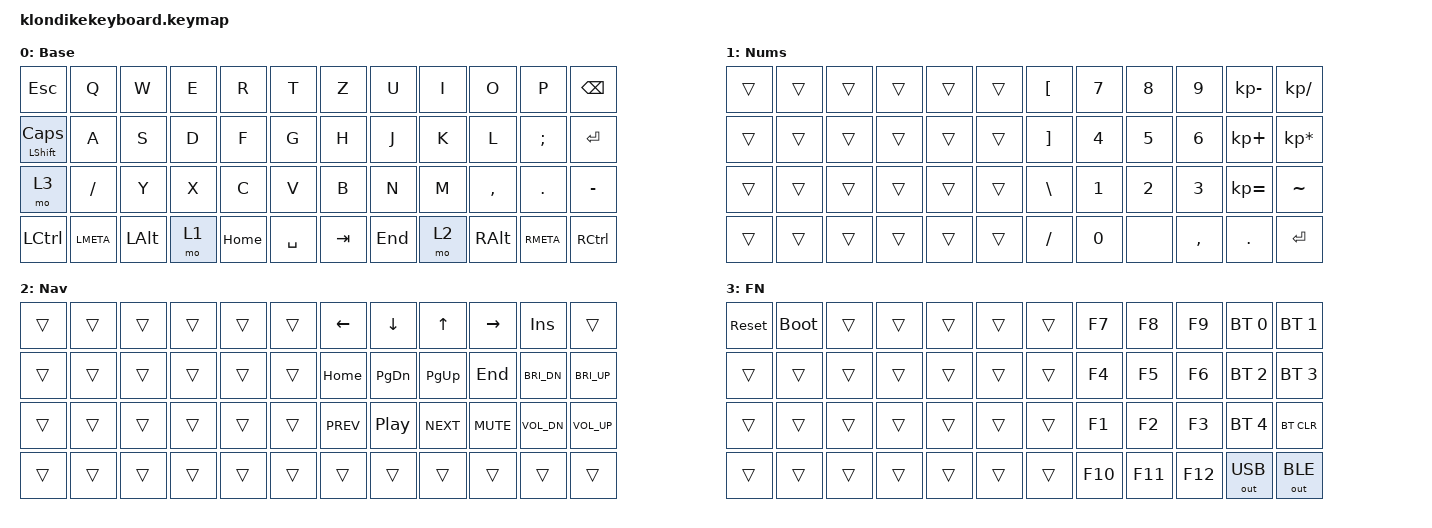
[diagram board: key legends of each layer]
#include <behaviors.dtsi>
#include <dt-bindings/zmk/keys.h>
#include <dt-bindings/zmk/bt.h>

/ {
    keymap {
        compatible = "zmk,keymap";
        default_layer {
            display-name = "Base";
            bindings = <
                        &kp ESC         &kp Q     &kp W     &kp E &kp R    &kp T     &kp Z   &kp U   &kp I &kp O     &kp P     &kp BSPC
                        &mt LSHIFT CAPS &kp A     &kp S     &kp D &kp F    &kp G     &kp H   &kp J   &kp K &kp L     &kp SEMI  &kp ENTER
                        &mo 3           &kp FSLH  &kp Y     &kp X &kp C    &kp V     &kp B   &kp N   &kp M &kp COMMA &kp DOT   &kp MINUS
                        &kp LCTRL       &kp LMETA &kp LALT  &mo 1 &kp HOME &kp SPACE &kp TAB &kp END &mo 2 &kp RALT  &kp RMETA &kp RCTL
                        >;
        };
        nums {
            display-name = "Nums";
            bindings = <
                        &trans &trans &trans &trans &trans &trans &kp LBKT &kp N7 &kp N8 &kp N9 &kp KP_MINUS &kp KP_DIVIDE
                        &trans &trans &trans &trans &trans &trans &kp RBKT &kp N4 &kp N5 &kp N6 &kp KP_PLUS  &kp KP_ASTERISK
                        &trans &trans &trans &trans &trans &trans &kp BSLH &kp N1 &kp N2 &kp N3 &kp KP_EQUAL &kp TILDE
                        &trans &trans &trans &trans &trans &trans &kp FSLH &kp N0 &none  &kp COMMA &kp DOT   &kp ENTER
                        >;
        };
        nav {
            display-name = "Nav";
            bindings = <
                        &trans &trans &trans &trans &trans &trans &kp LEFT   &kp DOWN  &kp UP     &kp RIGHT  &kp INSERT   &trans
                        &trans &trans &trans &trans &trans &trans &kp HOME   &kp PG_DN &kp PG_UP  &kp END    &kp C_BRI_DN &kp C_BRI_UP
                        &trans &trans &trans &trans &trans &trans &kp C_PREV &kp C_PP  &kp C_NEXT &kp C_MUTE &kp C_VOL_DN &kp C_VOL_UP
                        &trans &trans &trans &trans &trans &trans &trans     &trans    &trans     &trans     &trans       &trans
                        >;
        };
        fun {
            display-name = "FN";
            bindings = <
                        &sys_reset &bootloader &trans &trans &trans &trans &trans &kp F7  &kp F8  &kp F9  &bt BT_SEL 0 &bt BT_SEL 1
                        &trans     &trans      &trans &trans &trans &trans &trans &kp F4  &kp F5  &kp F6  &bt BT_SEL 2 &bt BT_SEL 3
                        &trans     &trans      &trans &trans &trans &trans &trans &kp F1  &kp F2  &kp F3  &bt BT_SEL 4 &bt BT_CLR
                        &trans     &trans      &trans &trans &trans &trans &trans &kp F10 &kp F11 &kp F12 &out OUT_USB &out OUT_BLE
                        >;
        };
    };
};
